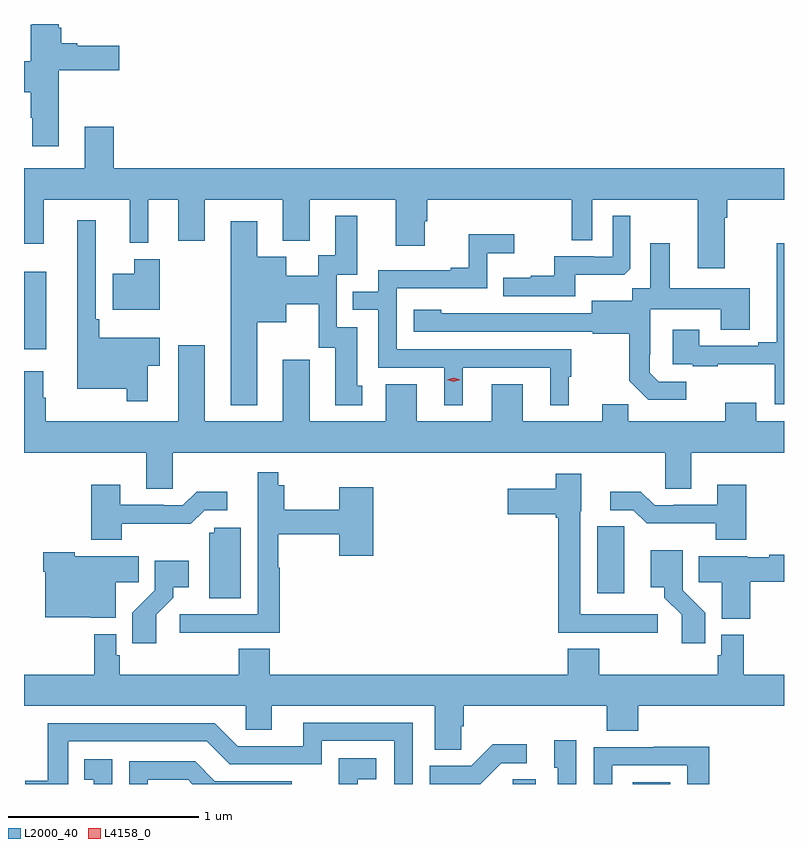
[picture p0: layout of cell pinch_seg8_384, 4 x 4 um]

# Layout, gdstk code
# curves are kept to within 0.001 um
import gdstk
lib = gdstk.Library(unit=1e-6, precision=1e-09)
def R(c, l, rs):  # rectangles x0, y0, x1, y1
    for r in rs: c.add(gdstk.rectangle(r[:2], r[2:], *l))
def P(c, l, *ps):  # polygons
    for p in ps: c.add(gdstk.Polygon(p, *l))
L2000_40 = (2000, 40)
L4158_0 = (4158, 0)

pinch_seg8_384 = lib.new_cell('pinch_seg8_384')
R(pinch_seg8_384, L2000_40, [(436.869,1096.108,436.99,1096.133), (437.501,1096.108,437.698,1096.117), (434.296,1098.395,434.413,1098.805)])
P(pinch_seg8_384, L2000_40, [(434.479,1099.864),(434.797,1099.864),(434.797,1099.993),(434.575,1099.993),(434.575,1100.006),(434.492,1100.006),(434.492,1100.089),(434.479,1100.089),(434.479,1100.108),(434.339,1100.108),(434.339,1100.105),(434.332,1100.105),(434.332,1099.913),(434.296,1099.913),(434.296,1099.748),(434.332,1099.748),(434.332,1099.614),(434.339,1099.614),(434.339,1099.464),(434.479,1099.464)],
  [(437.983,1099.088),(437.996,1099.088),(437.996,1099.184),(438.296,1099.184),(438.296,1099.348),(434.768,1099.348),(434.768,1099.567),(434.615,1099.567),(434.615,1099.348),(434.296,1099.348),(434.296,1098.951),(434.399,1098.951),(434.399,1099.184),(434.852,1099.184),(434.852,1098.956),(434.95,1098.956),(434.95,1099.184),(435.107,1099.184),(435.107,1098.966),(435.247,1098.966),(435.247,1099.184),(435.659,1099.184),(435.659,1098.968),(435.799,1098.968),(435.799,1099.184),(436.253,1099.184),(436.253,1098.942),(436.405,1098.942),(436.405,1099.071),(436.418,1099.071),(436.418,1099.184),(437.178,1099.184),(437.178,1098.97),(437.286,1098.97),(437.286,1099.184),(437.843,1099.184),(437.843,1098.822),(437.983,1098.822)],
  [(435.523,1098.539),(435.676,1098.539),(435.676,1098.632),(435.846,1098.632),(435.846,1098.405),(435.935,1098.405),(435.935,1098.102),(436.075,1098.102),(436.075,1098.204),(436.051,1098.204),(436.051,1098.513),(435.942,1098.513),(435.942,1098.789),(436.051,1098.789),(436.051,1099.099),(435.935,1099.099),(435.935,1098.89),(435.845,1098.89),(435.845,1098.784),(435.676,1098.784),(435.676,1098.883),(435.523,1098.883),(435.523,1099.069),(435.383,1099.069),(435.383,1098.101),(435.523,1098.101)],
  [(437.197,1098.788),(437.455,1098.788),(437.487,1098.819),(437.487,1099.099),(437.394,1099.099),(437.394,1098.882),(437.294,1098.882),(437.294,1098.885),(437.087,1098.885),(437.087,1098.784),(436.963,1098.784),(436.963,1098.772),(436.819,1098.772),(436.819,1098.675),(437.197,1098.675)],
  [(434.947,1098.31),(435.01,1098.31),(435.01,1098.457),(434.693,1098.457),(434.693,1098.553),(434.673,1098.553),(434.673,1099.075),(434.576,1099.075),(434.576,1098.188),(434.838,1098.188),(434.838,1098.123),(434.947,1098.123)],
  [(436.606,1098.3),(437.066,1098.3),(437.066,1098.101),(437.164,1098.101),(437.164,1098.252),(437.176,1098.252),(437.176,1098.396),(436.257,1098.396),(436.257,1098.717),(436.734,1098.717),(436.734,1098.902),(436.876,1098.902),(436.876,1099.001),(436.636,1099.001),(436.636,1098.826),(436.541,1098.826),(436.541,1098.813),(436.161,1098.813),(436.161,1098.699),(436.027,1098.699),(436.027,1098.603),(436.161,1098.603),(436.161,1098.3),(436.508,1098.3),(436.508,1098.101),(436.606,1098.101)],
  [(438.296,1098.955),(438.257,1098.955),(438.257,1098.433),(438.161,1098.433),(438.161,1098.414),(437.851,1098.414),(437.851,1098.499),(437.711,1098.499),(437.711,1098.318),(437.815,1098.318),(437.815,1098.306),(437.947,1098.306),(437.947,1098.317),(438.246,1098.317),(438.246,1098.108),(438.296,1098.108)],
  [(437.782,1098.225),(437.637,1098.225),(437.59,1098.272),(437.59,1098.367),(437.592,1098.367),(437.592,1098.608),(437.963,1098.608),(437.963,1098.499),(438.115,1098.499),(438.115,1098.718),(437.695,1098.718),(437.695,1098.955),(437.591,1098.955),(437.591,1098.716),(437.496,1098.716),(437.496,1098.652),(437.285,1098.652),(437.285,1098.585),(436.491,1098.586),(436.491,1098.604),(436.347,1098.604),(436.347,1098.489),(437.289,1098.489),(437.289,1098.477),(437.481,1098.477),(437.481,1098.231),(437.581,1098.131),(437.782,1098.131)],
  [(435.01,1098.871),(434.876,1098.871),(434.876,1098.793),(434.762,1098.793),(434.762,1098.605),(435.01,1098.605)],
  [(435.078,1097.852),(437.67,1097.852),(437.67,1097.662),(437.809,1097.662),(437.809,1097.852),(438.296,1097.852),(438.296,1098.016),(438.151,1098.016),(438.151,1098.115),(437.987,1098.115),(437.987,1098.016),(437.477,1098.016),(437.477,1098.107),(437.339,1098.107),(437.339,1098.016),(436.921,1098.016),(436.921,1098.211),(436.757,1098.211),(436.757,1098.016),(436.363,1098.016),(436.363,1098.211),(436.199,1098.211),(436.199,1098.016),(435.799,1098.016),(435.799,1098.34),(435.659,1098.34),(435.659,1098.016),(435.247,1098.016),(435.247,1098.418),(435.107,1098.418),(435.107,1098.016),(434.41,1098.016),(434.41,1098.14),(434.398,1098.14),(434.398,1098.28),(434.296,1098.28),(434.296,1097.852),(434.939,1097.852),(434.939,1097.662),(435.078,1097.662)],
  [(435.341,1096.905),(435.641,1096.905),(435.641,1097.245),(435.634,1097.245),(435.634,1097.422),(435.955,1097.422),(435.955,1097.31),(436.133,1097.31),(436.133,1097.671),(435.955,1097.671),(435.955,1097.551),(435.666,1097.551),(435.666,1097.68),(435.634,1097.68),(435.634,1097.749),(435.525,1097.749),(435.525,1097.001),(435.117,1097.001),(435.117,1096.903),(435.341,1096.903)],
  [(437.632,1097.001),(437.223,1097.001),(437.223,1097.544),(437.23,1097.544),(437.23,1097.74),(437.094,1097.74),(437.094,1097.662),(436.842,1097.662),(436.842,1097.528),(437.094,1097.528),(437.094,1097.51),(437.107,1097.51),(437.107,1096.905),(437.407,1096.905),(437.407,1096.903),(437.632,1096.903)],
  [(434.811,1097.478),(435.173,1097.477),(435.246,1097.55),(435.367,1097.55),(435.367,1097.647),(435.205,1097.647),(435.132,1097.574),(435.032,1097.574),(435.032,1097.577),(434.803,1097.577),(434.803,1097.683),(434.651,1097.683),(434.651,1097.393),(434.811,1097.393)],
  [(438.098,1097.683),(437.945,1097.683),(437.945,1097.577),(437.716,1097.577),(437.716,1097.574),(437.616,1097.574),(437.543,1097.647),(437.382,1097.647),(437.382,1097.55),(437.502,1097.55),(437.573,1097.48),(437.938,1097.48),(437.938,1097.393),(438.098,1097.393)],
  [(437.455,1097.354),(437.454,1097.354),(437.454,1097.465),(437.312,1097.465),(437.312,1097.112),(437.455,1097.112)],
  [(435.436,1097.457),(435.297,1097.457),(435.297,1097.43),(435.272,1097.43),(435.272,1097.086),(435.436,1097.086)],
  [(437.882,1097.01),(437.763,1097.129),(437.763,1097.338),(437.594,1097.338),(437.594,1097.144),(437.666,1097.144),(437.666,1097.089),(437.757,1096.999),(437.757,1096.848),(437.882,1096.848)],
  [(434.779,1097.17),(434.9,1097.17),(434.9,1097.308),(434.562,1097.308),(434.562,1097.329),(434.396,1097.329),(434.396,1097.225),(434.408,1097.225),(434.408,1096.985),(434.646,1096.985),(434.646,1096.982),(434.779,1096.982)],
  [(438.119,1097.173),(438.296,1097.173),(438.296,1097.315),(438.219,1097.315),(438.219,1097.302),(438.102,1097.302),(438.102,1097.308),(437.848,1097.308),(437.848,1097.17),(437.969,1097.17),(437.969,1096.979),(438.119,1096.979)],
  [(434.992,1096.999),(435.082,1097.089),(435.082,1097.144),(435.163,1097.144),(435.163,1097.284),(434.985,1097.284),(434.985,1097.129),(434.866,1097.01),(434.866,1096.848),(434.992,1096.848)],
  [(435.425,1096.684),(434.801,1096.684),(434.801,1096.785),(434.781,1096.785),(434.781,1096.897),(434.665,1096.897),(434.665,1096.684),(434.296,1096.684),(434.296,1096.52),(435.462,1096.52),(435.462,1096.393),(435.601,1096.393),(435.601,1096.52),(436.457,1096.52),(436.457,1096.288),(436.596,1096.288),(436.596,1096.411),(436.61,1096.411),(436.61,1096.52),(437.363,1096.52),(437.363,1096.387),(437.528,1096.387),(437.528,1096.52),(438.296,1096.52),(438.296,1096.684),(438.083,1096.684),(438.083,1096.894),(437.967,1096.894),(437.967,1096.785),(437.947,1096.785),(437.947,1096.684),(437.324,1096.684),(437.324,1096.82),(437.159,1096.82),(437.159,1096.684),(435.59,1096.684),(435.59,1096.82),(435.425,1096.82)],
  [(434.529,1096.332),(435.258,1096.332),(435.378,1096.212),(435.864,1096.212),(435.864,1096.335),(436.245,1096.335),(436.245,1096.108),(436.341,1096.108),(436.341,1096.431),(435.767,1096.431),(435.767,1096.308),(435.42,1096.308),(435.3,1096.428),(434.421,1096.428),(434.421,1096.126),(434.303,1096.126),(434.303,1096.108),(434.529,1096.108)],
  [(437.202,1096.339),(437.087,1096.339),(437.087,1096.194),(437.106,1096.194),(437.106,1096.108),(437.202,1096.108)],
  [(436.807,1096.218),(436.942,1096.218),(436.942,1096.316),(436.763,1096.316),(436.65,1096.203),(436.431,1096.203),(436.431,1096.108),(436.697,1096.108)],
  [(437.391,1096.206),(437.787,1096.206),(437.787,1096.108),(437.903,1096.108),(437.903,1096.304),(437.611,1096.304),(437.611,1096.302),(437.295,1096.302),(437.295,1096.108),(437.391,1096.108)],
  [(436.052,1096.133),(436.15,1096.133),(436.15,1096.243),(435.952,1096.243),(435.952,1096.108),(436.052,1096.108)],
  [(434.76,1096.237),(434.614,1096.237),(434.614,1096.131),(434.663,1096.131),(434.663,1096.108),(434.76,1096.108)],
  [(434.946,1096.13),(435.16,1096.13),(435.182,1096.108),(435.705,1096.108),(435.705,1096.122),(435.301,1096.122),(435.196,1096.227),(434.85,1096.227),(434.85,1096.108),(434.946,1096.108)])
P(pinch_seg8_384, L4158_0, [(436.557,1098.226),(436.521,1098.235),(436.521,1098.236),(436.521,1098.236),(436.557,1098.246),(436.593,1098.236),(436.593,1098.236),(436.593,1098.235)])

lib.write_gds('pinch_seg8_384.gds')
